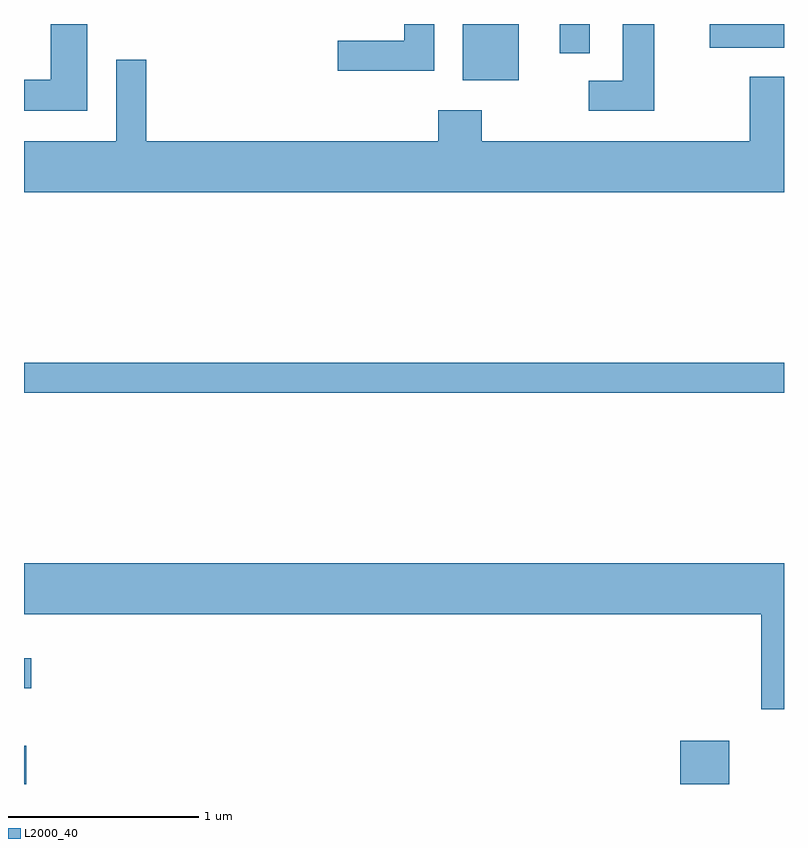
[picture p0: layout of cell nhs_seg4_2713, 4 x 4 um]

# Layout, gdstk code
import gdstk
lib = gdstk.Library(unit=1e-6, precision=1e-09)
def R(c, l, rs):  # rectangles x0, y0, x1, y1
    for r in rs: c.add(gdstk.rectangle(r[:2], r[2:], *l))
def P(c, l, *ps):  # polygons
    for p in ps: c.add(gdstk.Polygon(p, *l))
L2000_40 = (2000, 40)

nhs_seg4_2713 = lib.new_cell('nhs_seg4_2713')
R(nhs_seg4_2713, L2000_40, [(263.611,1375.982,263.624,1376.184), (267.066,1375.982,267.324,1376.209), (263.611,1376.486,263.648,1376.644), (263.611,1378.041,267.611,1378.199), (265.921,1379.686,266.214,1379.982), (266.431,1379.828,266.589,1379.982), (267.221,1379.856,267.611,1379.982)])
P(nhs_seg4_2713, L2000_40, [(265.769,1379.982),(265.611,1379.982),(265.611,1379.894),(265.263,1379.894),(265.263,1379.736),(265.769,1379.736)],
  [(266.929,1379.982),(266.761,1379.982),(266.761,1379.684),(266.583,1379.684),(266.583,1379.526),(266.929,1379.526)],
  [(263.944,1379.982),(263.751,1379.982),(263.751,1379.689),(263.611,1379.689),(263.611,1379.526),(263.944,1379.526)],
  [(267.611,1379.704),(267.431,1379.704),(267.431,1379.364),(266.019,1379.364),(266.019,1379.529),(265.791,1379.529),(265.791,1379.364),(264.254,1379.364),(264.254,1379.793),(264.096,1379.793),(264.096,1379.364),(263.611,1379.364),(263.611,1379.096),(267.611,1379.096)],
  [(267.611,1377.144),(263.611,1377.144),(263.611,1376.876),(267.491,1376.876),(267.491,1376.376),(267.611,1376.376)])

lib.write_gds('nhs_seg4_2713.gds')
